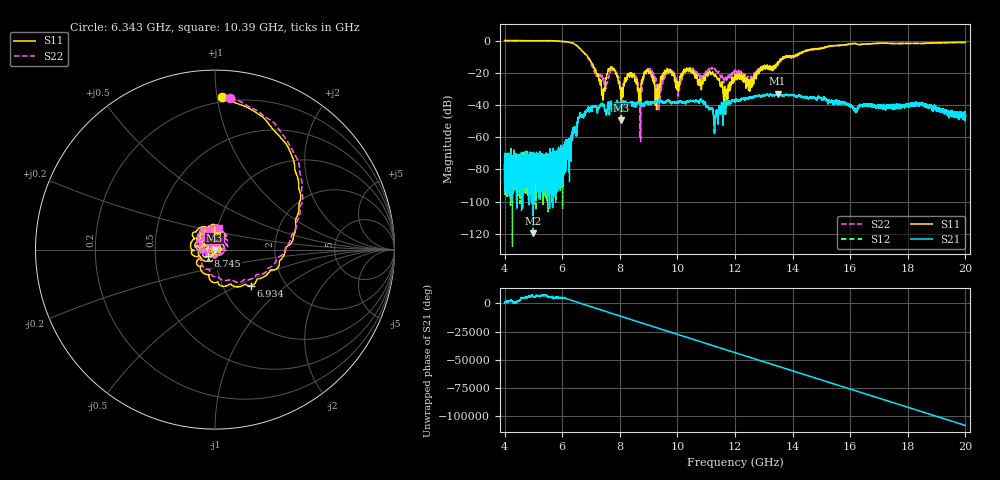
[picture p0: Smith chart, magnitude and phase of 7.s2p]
[Version] 2.0
! Rohde & Schwarz Vector Network Analyzer
! Rohde-Schwarz,ZNL20-2Port,1323001220200009,1.71.1.10-23.02.1.238
! Port Assignments:
! Nominal Port -> Actual Test Port
!  1 -> 1
!  2 -> 2
! Created: GMT+2 2025-01-17 12:08:51
# Hz S RI R 50
[Number of Ports] 2
[Two-Port Data Order] 21_12
! freq[Hz]  S11[Re]  S11[Im]  S21[Re]  S21[Im]  S12[Re]  S12[Im]  S22[Re]  S22[Im]
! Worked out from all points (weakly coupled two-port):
!   16001 points, 4 GHz to 20 GHz, reference 50 ohm
!   highest |S21| = -32.99 dB at 13.48 GHz (marker M1); lowest = -119.7 dB at 4.981 GHz (marker M2)
!   lowest |S11| = -49.4 dB at 8.055 GHz (marker M3), VSWR 1.01, Z = 49.8 - j0.26 ohm
!   |S11| at or under -10 dB: 6.887 GHz to 13.7 GHz (6.814 GHz wide, 66.2 % of centre); 13.71224 GHz to 13.74183 GHz (29.59 MHz wide, 0.216 % of centre); 13.94224 GHz to 13.96586 GHz (23.62 MHz wide, 0.169 % of centre) (the widest 3 of 9)
!   |S22| runs from -62.7 to 0.0 dB; largest |S21 - S12| = 0.0024
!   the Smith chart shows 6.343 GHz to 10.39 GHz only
!   S11 on the Smith chart (normalised r, x): 6.343 GHz: 0.17, +1.03; 6.934 GHz: 1.36, -0.59; 8.745 GHz: 0.92, -0.07; 10.39 GHz: 0.99, +0.22
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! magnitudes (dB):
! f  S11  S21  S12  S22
! 4 GHz  0.0  -76.7  -76.6  -0.2
! 4.981 GHz  -0.1  -119.7  -76.6  -0.2
! 5.935 GHz  -0.5  -77.4  -89.5  -0.7
! 6.343 GHz  -1.4  -59.0  -58.4  -1.4
! 6.667 GHz  -5.9  -46.7  -46.3  -6.0
! 6.934 GHz  -10.9  -43.7  -43.8  -12.0
! 7.401 GHz  -30.4  -39.3  -39.3  -22.3
! 7.72 GHz  -16.8  -41.5  -41.5  -18.9
! 8.055 GHz  -49.4  -37.6  -37.5  -31.2
! 8.425 GHz  -22.7  -39.8  -39.8  -21.6
! 8.745 GHz  -25.5  -39.2  -39.2  -29.4
! 9 GHz  -20.2  -38.3  -38.5  -18.7
! 9.334 GHz  -27.9  -37.7  -37.7  -30.6
! 9.585 GHz  -20.5  -38.1  -38.0  -21.6
! 10.39 GHz  -19.3  -37.9  -37.6  -18.1
! 11.34 GHz  -22.5  -44.7  -44.9  -18.8
! 11.67 GHz  -31.6  -45.5  -45.4  -22.6
! 12 GHz  -21.3  -38.2  -38.2  -19.2
! 13.48 GHz  -13.2  -33.0  -33.1  -14.3
! 14.67 GHz  -5.4  -35.4  -35.3  -5.9
! 17.33 GHz  -1.7  -41.0  -40.8  -1.8
! 20 GHz  -1.2  -46.2  -46.1  -1.2
